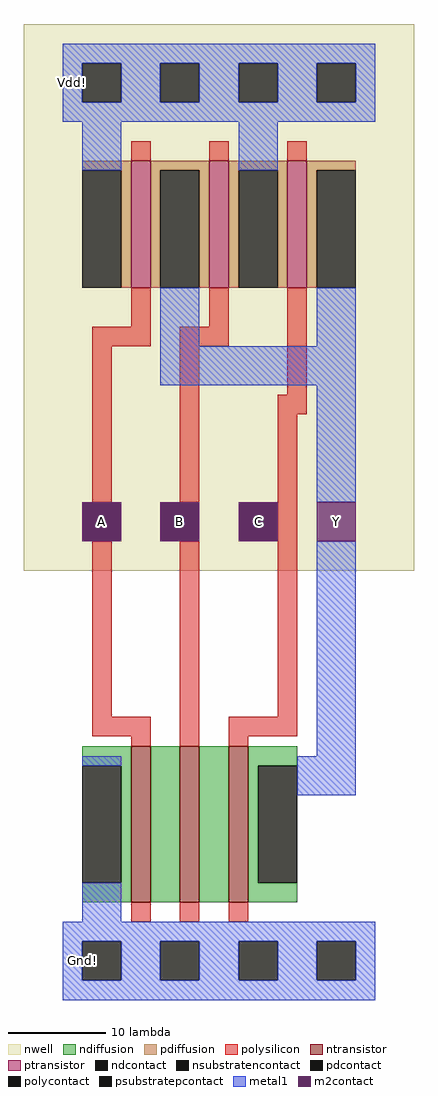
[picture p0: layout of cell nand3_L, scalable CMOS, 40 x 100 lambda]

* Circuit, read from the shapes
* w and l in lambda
.subckt nand3_L A B C Gnd! Vdd! Y
M1 n1 A Gnd! Gnd! nfet w=16 l=2
M2 n2 B n1 Gnd! nfet w=16 l=2
M3 Y C n2 Gnd! nfet w=16 l=2
M4 Y A Vdd! Vdd! pfet w=13 l=2
M5 Vdd! B Y Vdd! pfet w=13 l=2
M6 Y C Vdd! Vdd! pfet w=13 l=2
.ends

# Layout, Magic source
magic
tech scmos
<< nwell >>
rect -6 40 34 96
<< ntransistor >>
rect 5 6 7 22
rect 10 6 12 22
rect 15 6 17 22
<< ptransistor >>
rect 5 69 7 82
rect 13 69 15 82
rect 21 69 23 82
<< ndiffusion >>
rect 0 20 5 22
rect 4 8 5 20
rect 0 6 5 8
rect 7 6 10 22
rect 12 6 15 22
rect 17 20 22 22
rect 17 8 18 20
rect 17 6 22 8
<< pdiffusion >>
rect 0 81 5 82
rect 4 69 5 81
rect 7 81 13 82
rect 7 69 8 81
rect 12 69 13 81
rect 15 81 21 82
rect 15 69 16 81
rect 20 69 21 81
rect 23 81 28 82
rect 23 69 24 81
<< ndcontact >>
rect 0 8 4 20
rect 18 8 22 20
<< pdcontact >>
rect 0 69 4 81
rect 8 69 12 81
rect 16 69 20 81
rect 24 69 28 81
<< psubstratepcontact >>
rect 0 -2 4 2
rect 8 -2 12 2
rect 16 -2 20 2
rect 24 -2 28 2
<< nsubstratencontact >>
rect 0 88 4 92
rect 8 88 12 92
rect 16 88 20 92
rect 24 88 28 92
<< polysilicon >>
rect 5 82 7 84
rect 13 82 15 84
rect 21 82 23 84
rect 5 65 7 69
rect 13 65 15 69
rect 1 63 7 65
rect 10 63 15 65
rect 1 47 3 63
rect 10 47 12 63
rect 21 58 23 69
rect 20 56 23 58
rect 1 25 3 43
rect 1 23 7 25
rect 5 22 7 23
rect 10 22 12 43
rect 20 25 22 56
rect 15 23 22 25
rect 15 22 17 23
rect 5 4 7 6
rect 10 4 12 6
rect 15 4 17 6
<< polycontact >>
rect 0 43 4 47
rect 8 43 12 47
rect 16 43 20 47
<< metal1 >>
rect -2 92 30 94
rect -2 88 0 92
rect 4 88 8 92
rect 12 88 16 92
rect 20 88 24 92
rect 28 88 30 92
rect -2 86 30 88
rect 0 81 4 86
rect 16 81 20 86
rect 8 63 12 69
rect 24 63 28 69
rect 8 59 28 63
rect 24 47 28 59
rect 24 21 28 43
rect 0 20 4 21
rect 22 17 28 21
rect 0 4 4 8
rect -2 2 30 4
rect -2 -2 0 2
rect 4 -2 8 2
rect 12 -2 16 2
rect 20 -2 24 2
rect 28 -2 30 2
rect -2 -4 30 -2
<< m2contact >>
rect 0 43 4 47
rect 8 43 12 47
rect 16 43 20 47
rect 24 43 28 47
<< labels >>
rlabel metal1 0 0 0 0 1 Gnd!
rlabel metal1 -1 90 -1 90 3 Vdd!
rlabel m2contact 10 45 10 45 1 B
rlabel m2contact 18 45 18 45 1 C
rlabel m2contact 26 45 26 45 1 Y
rlabel m2contact 2 45 2 45 1 A
<< end >>
